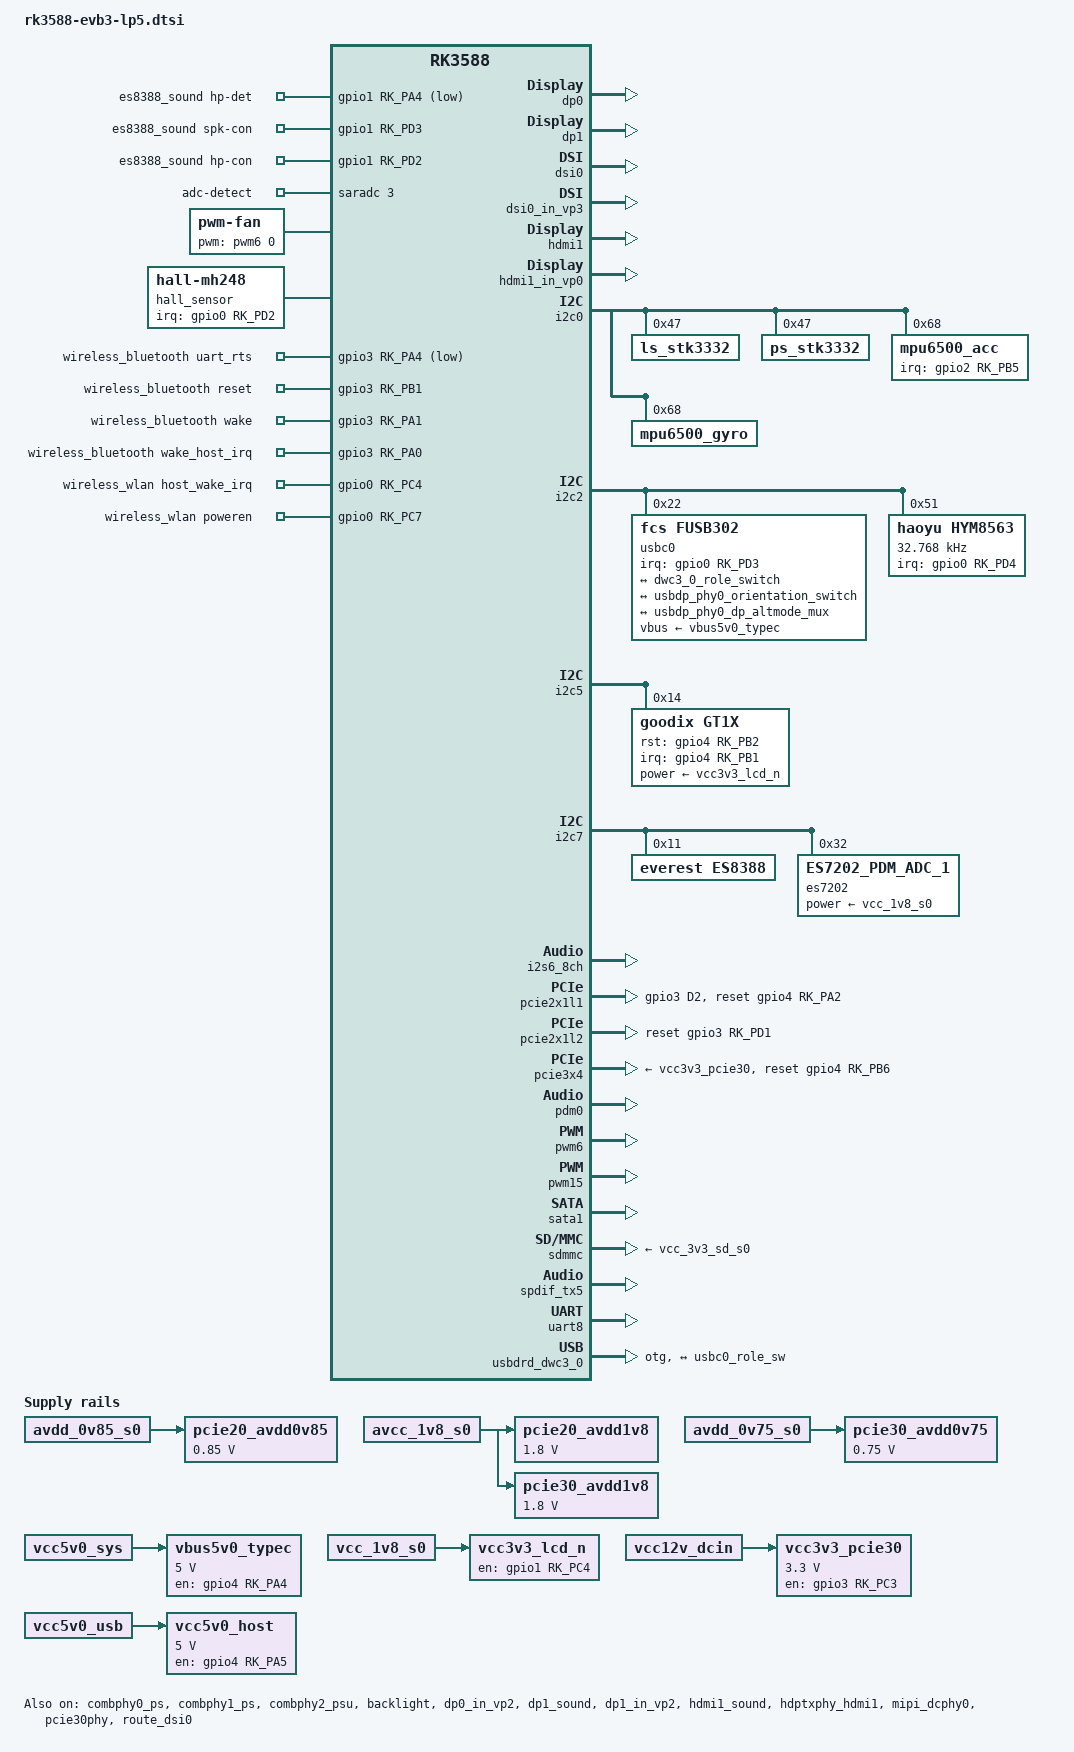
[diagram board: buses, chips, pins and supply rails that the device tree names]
// SPDX-License-Identifier: (GPL-2.0+ OR MIT)
/*
 * Copyright (c) 2021 Rockchip Electronics Co., Ltd.
 *
 */

#include "dt-bindings/usb/pd.h"
#include "rk3588.dtsi"
#include "rk3588-evb.dtsi"
#include "rk3588-rk806-dual.dtsi"

/ {
	es7202_sound_micarray: es7202-sound-micarray {
		status = "okay";
		compatible = "simple-audio-card";
		simple-audio-card,format = "i2s";
		simple-audio-card,name = "rockchip,sound-micarray";
		simple-audio-card,mclk-fs = <256>;
		simple-audio-card,dai-link@0 {
			format = "pdm";
			cpu {
				sound-dai = <&pdm0>;
			};
			codec {
				sound-dai = <&es7202>;
			};
		};
	};

	es8388_sound: es8388-sound {
		status = "okay";
		compatible = "rockchip,multicodecs-card";
		rockchip,card-name = "rockchip-es8388";
		hp-det-gpio = <&gpio1 RK_PA4 GPIO_ACTIVE_LOW>;
		io-channels = <&saradc 3>;
		io-channel-names = "adc-detect";
		keyup-threshold-microvolt = <1800000>;
		poll-interval = <100>;
		spk-con-gpio = <&gpio1 RK_PD3 GPIO_ACTIVE_HIGH>;
		hp-con-gpio = <&gpio1 RK_PD2 GPIO_ACTIVE_HIGH>;
		rockchip,format = "i2s";
		rockchip,mclk-fs = <256>;
		rockchip,cpu = <&i2s0_8ch>;
		rockchip,codec = <&es8388>;
		rockchip,audio-routing =
			"Headphone", "LOUT1",
			"Headphone", "ROUT1",
			"Speaker", "LOUT2",
			"Speaker", "ROUT2",
			"Headphone", "Headphone Power",
			"Headphone", "Headphone Power",
			"Speaker", "Speaker Power",
			"Speaker", "Speaker Power",
			"LINPUT1", "Main Mic",
			"LINPUT2", "Main Mic",
			"RINPUT1", "Headset Mic",
			"RINPUT2", "Headset Mic";
		pinctrl-names = "default";
		pinctrl-0 = <&hp_det>;
		play-pause-key {
			label = "playpause";
			linux,code = <KEY_PLAYPAUSE>;
			press-threshold-microvolt = <2000>;
		};
	};

	fan: pwm-fan {
		compatible = "pwm-fan";
		#cooling-cells = <2>;
		pwms = <&pwm6 0 50000 0>;
		cooling-levels = <0 50 100 150 200 255>;
		rockchip,temp-trips = <
			50000	1
			55000	2
			60000	3
			65000	4
			70000	5
		>;
	};

	hall_sensor: hall-mh248 {
		compatible = "hall-mh248";
		pinctrl-names = "default";
		pinctrl-0 = <&mh248_irq_gpio>;
		irq-gpio = <&gpio0 RK_PD2 IRQ_TYPE_EDGE_BOTH>;
		hall-active = <1>;
		status = "okay";
	};

	pcie20_avdd0v85: pcie20-avdd0v85 {
		compatible = "regulator-fixed";
		regulator-name = "pcie20_avdd0v85";
		regulator-boot-on;
		regulator-always-on;
		regulator-min-microvolt = <850000>;
		regulator-max-microvolt = <850000>;
		vin-supply = <&avdd_0v85_s0>;
	};

	pcie20_avdd1v8: pcie20-avdd1v8 {
		compatible = "regulator-fixed";
		regulator-name = "pcie20_avdd1v8";
		regulator-boot-on;
		regulator-always-on;
		regulator-min-microvolt = <1800000>;
		regulator-max-microvolt = <1800000>;
		vin-supply = <&avcc_1v8_s0>;
	};

	pcie30_avdd0v75: pcie30-avdd0v75 {
		compatible = "regulator-fixed";
		regulator-name = "pcie30_avdd0v75";
		regulator-boot-on;
		regulator-always-on;
		regulator-min-microvolt = <750000>;
		regulator-max-microvolt = <750000>;
		vin-supply = <&avdd_0v75_s0>;
	};

	pcie30_avdd1v8: pcie30-avdd1v8 {
		compatible = "regulator-fixed";
		regulator-name = "pcie30_avdd1v8";
		regulator-boot-on;
		regulator-always-on;
		regulator-min-microvolt = <1800000>;
		regulator-max-microvolt = <1800000>;
		vin-supply = <&avcc_1v8_s0>;
	};

	vbus5v0_typec: vbus5v0-typec {
		compatible = "regulator-fixed";
		regulator-name = "vbus5v0_typec";
		regulator-min-microvolt = <5000000>;
		regulator-max-microvolt = <5000000>;
		enable-active-high;
		gpio = <&gpio4 RK_PA4 GPIO_ACTIVE_HIGH>;
		vin-supply = <&vcc5v0_sys>;
		pinctrl-names = "default";
		pinctrl-0 = <&typec5v_pwren>;
	};

	vcc3v3_lcd_n: vcc3v3-lcd0-n {
		compatible = "regulator-fixed";
		regulator-name = "vcc3v3_lcd0_n";
		regulator-boot-on;
		enable-active-high;
		gpio = <&gpio1 RK_PC4 GPIO_ACTIVE_HIGH>;
		vin-supply = <&vcc_1v8_s0>;
	};

	vcc3v3_pcie30: vcc3v3-pcie30 {
		compatible = "regulator-fixed";
		regulator-name = "vcc3v3_pcie30";
		regulator-min-microvolt = <3300000>;
		regulator-max-microvolt = <3300000>;
		enable-active-high;
		gpios = <&gpio3 RK_PC3 GPIO_ACTIVE_HIGH>;
		startup-delay-us = <5000>;
		vin-supply = <&vcc12v_dcin>;
	};

	vcc5v0_host: vcc5v0-host {
		compatible = "regulator-fixed";
		regulator-name = "vcc5v0_host";
		regulator-boot-on;
		regulator-always-on;
		regulator-min-microvolt = <5000000>;
		regulator-max-microvolt = <5000000>;
		enable-active-high;
		gpio = <&gpio4 RK_PA5 GPIO_ACTIVE_HIGH>;
		vin-supply = <&vcc5v0_usb>;
		pinctrl-names = "default";
		pinctrl-0 = <&vcc5v0_host_en>;
	};

	wireless_bluetooth: wireless-bluetooth {
		compatible = "bluetooth-platdata";
		clocks = <&hym8563>;
		clock-names = "ext_clock";
		uart_rts_gpios = <&gpio3 RK_PA4 GPIO_ACTIVE_LOW>;
		pinctrl-names = "default", "rts_gpio";
		pinctrl-0 = <&uart8m1_rtsn>;
		pinctrl-1 = <&uart8_gpios>;
		BT,reset_gpio    = <&gpio3 RK_PB1 GPIO_ACTIVE_HIGH>;
		BT,wake_gpio     = <&gpio3 RK_PA1 GPIO_ACTIVE_HIGH>;
		BT,wake_host_irq = <&gpio3 RK_PA0 GPIO_ACTIVE_HIGH>;
		status = "okay";
	};

	wireless_wlan: wireless-wlan {
		compatible = "wlan-platdata";
		wifi_chip_type = "ap6275p";
		pinctrl-names = "default";
		pinctrl-0 = <&wifi_host_wake_irq>, <&wifi_poweren_gpio>;
		WIFI,host_wake_irq = <&gpio0 RK_PC4 GPIO_ACTIVE_HIGH>;
		WIFI,poweren_gpio = <&gpio0 RK_PC7 GPIO_ACTIVE_HIGH>;
		status = "okay";
	};
};

&combphy0_ps {
	status = "okay";
};

&combphy1_ps {
	status = "okay";
};

&combphy2_psu {
	status = "okay";
};

&backlight {
	pwms = <&pwm15 0 25000 0>;
	status = "okay";
};

&dp0 {
	status = "okay";
};

&dp0_in_vp2 {
	status = "okay";
};

&dp1_sound {
	status = "okay";
};

&dp1 {
	pinctrl-0 = <&dp1m2_pins>;
	pinctrl-names = "default";
	status = "okay";
};

&dp1_in_vp2 {
	status = "okay";
};

/*
 * mipi_dcphy0 needs to be enabled
 * when dsi0 is enabled
 */
&dsi0 {
	status = "okay";
};

&dsi0_in_vp2 {
	status = "disabled";
};

&dsi0_in_vp3 {
	status = "okay";
};

&dsi0_panel {
	power-supply = <&vcc3v3_lcd_n>;
	reset-gpios = <&gpio4 RK_PA3 GPIO_ACTIVE_LOW>;
	pinctrl-names = "default";
	pinctrl-0 = <&lcd_rst_gpio>;
};

/*
 * mipi_dcphy1 needs to be enabled
 * when dsi1 is enabled
 */
&dsi1 {
	status = "disabled";
};

&dsi1_in_vp2 {
	status = "disabled";
};

&dsi1_in_vp3 {
	status = "disabled";
};

&dsi1_panel {
	power-supply = <&vcc3v3_lcd_n>;

	/*
	 * because in hardware, the two screens share the reset pin,
	 * so reset-gpios need only in dsi1 enable and dsi0 disabled
	 * case.
	 */

	//reset-gpios = <&gpio4 RK_PA3 GPIO_ACTIVE_LOW>;
	//pinctrl-names = "default";
	//pinctrl-0 = <&lcd_rst_gpio>;
	phy-c-option;
	dsi,lanes  = <3>;

	panel-init-sequence = [
		23 00 02 FF 20
		23 00 02 FB 01
		23 00 02 05 D9
		/* VGH=17V */
		23 00 02 07 78
		/* VGL=-14V */
		23 00 02 08 5A
		/* EN_VMODGATE2=1 */
		23 00 02 0D 63
		/* VGH=16V */
		23 00 02 0E 91
		/* VGL=-13V */
		23 00 02 0F 73
		/* GVDD=5.2V */
		23 00 02 95 EB
		23 00 02 96 EB
		/* Disable VDDI LV */
		23 00 02 30 11
		/* ISOP */
		23 00 02 6D 66
		/* EN_GMACP */
		23 00 02 75 A2
		/* V128 */
		23 00 02 77 3B
		/* R(+) */
		29 00 11 B0  00  08  00  23  00  4D  00  6D  00  89  00  A1  00  B6  00  C9
		29 00 11 B1  00  DA  01  13  01  3C  01  7E  01  AB  01  F7  02  2F  02  31
		29 00 11 B2  02  67  02  A6  02  D1  03  08  03  2E  03  5B  03  6B  03  7B
		29 00 0D B3  03  8E  03  A2  03  B7  03  E7  03  FD  03  FF
		/* G(+) */
		29 00 11 B4  00  08  00  23  00  4D  00  6D  00  89  00  A1  00  B6  00  C9
		29 00 11 B5  00  DA  01  13  01  3C  01  7E  01  AB  01  F7  02  2F  02  31
		29 00 11 B6  02  67  02  A6  02  D1  03  08  03  2E  03  5B  03  6B  03  7B
		29 00 0D B7  03  8E  03  A2  03  B7  03  E7  03  FD  03  FF
		/* B(+) */
		29 00 11 B8  00  08  00  23  00  4D  00  6D  00  89  00  A1  00  B6  00  C9
		29 00 11 B9  00  DA  01  13  01  3C  01  7E  01  AB  01  F7  02  2F  02  31
		29 00 11 BA  02  67  02  A6  02  D1  03  08  03  2E  03  5B  03  6B  03  7B
		29 00 0D BB  03  8E  03  A2  03  B7  03  E7  03  FD  03  FF
		/* CMD2_Page1 */
		23 00 02 FF 21
		23 00 02 FB 01
		/* R(-) */
		29 00 11 B0  00  00  00  1B  00  45  00  65  00  81  00  99  00  AE  00  C1
		29 00 11 B1  00  D2  01  0B  01  34  01  76  01  A3  01  EF  02  27  02  29
		29 00 11 B2  02  5F  02  9E  02  C9  03  00  03  26  03  53  03  63  03  73
		29 00 0D B3  03  86  03  9A  03  AF  03  DF  03  F5  03  F7
		/* G(-) */
		29 00 11 B4  00  00  00  1B  00  45  00  65  00  81  00  99  00  AE  00  C1
		29 00 11 B5  00  D2  01  0B  01  34  01  76  01  A3  01  EF  02  27  02  29
		29 00 11 B6  02  5F  02  9E  02  C9  03  00  03  26  03  53  03  63  03  73
		29 00 0D B7  03  86  03  9A  03  AF  03  DF  03  F5  03  F7
		/* B(-) */
		29 00 11 B8  00  00  00  1B  00  45  00  65  00  81  00  99  00  AE  00  C1
		29 00 11 B9  00  D2  01  0B  01  34  01  76  01  A3  01  EF  02  27  02  29
		29 00 11 BA  02  5F  02  9E  02  C9  03  00  03  26  03  53  03  63  03  73
		29 00 0D BB  03  86  03  9A  03  AF  03  DF  03  F5  03  F7

		29 00 02  FF 24
		29 00 02  FB 01
		/* VGL */
		29 00 02 00 00
		29 00 02 01 00
		/* VDDO */
		29 00 02 02 1C
		29 00 02 03 1C
		/* VDDE */
		29 00 02 04 1D
		29 00 02 05 1D
		/* STV0 */
		29 00 02 06 04
		29 00 02 07 04
		/* CLK8 */
		29 00 02 08 0F
		29 00 02 09 0F
		/* CLK6 */
		29 00 02 0A 0E
		29 00 02 0B 0E
		/* CLK4 */
		29 00 02 0C 0D
		29 00 02 0D 0D
		/* CLK2 */
		29 00 02 0E 0C
		29 00 02 0F 0C
		/* STV2 */
		29 00 02 10 08
		29 00 02 11 08

		29 00 02 12 00
		29 00 02 13 00
		29 00 02 14 00
		29 00 02 15 00
		/* VGL */
		29 00 02 16 00
		29 00 02 17 00
		/* VDDO */
		29 00 02 18 1C
		29 00 02 19 1C
		/* VDDE */
		29 00 02 1A 1D
		29 00 02 1B 1D
		/* STV0 */
		29 00 02 1C 04
		29 00 02 1D 04
		/* CLK7 */
		29 00 02 1E 0F
		29 00 02 1F 0F
		/* CLK5 */
		29 00 02 20 0E
		29 00 02 21 0E
		/* CLK3 */
		29 00 02 22 0D
		29 00 02 23 0D
		/* CLK1 */
		29 00 02 24 0C
		29 00 02 25 0C
		/* STV1 */
		29 00 02 26 08
		29 00 02 27 08

		29 00 02 28 00
		29 00 02 29 00
		29 00 02 2A 00
		29 00 02 2B 00
		/* STV0 */
		29 00 02 2D 20
		29 00 02 2F 0A
		29 00 02 30 44
		29 00 02 33 0C
		29 00 02 34 32

		29 00 02 37 44
		29 00 02 38 40
		29 00 02 39 00
		29 00 02 3A 50
		29 00 02 3B 50
		29 00 02 3D 42
		/* STV */
		29 00 02 3F 06
		29 00 02 43 06

		29 00 02 47 66
		29 00 02 4A 50
		29 00 02 4B 50
		29 00 02 4C 91
		/* GCK */
		29 00 02 4D 21
		29 00 02 4E 43
		29 00 02 51 12
		29 00 02 52 34
		29 00 03 55 82 02
		29 00 02 56 04
		29 00 02 58 21
		29 00 02 59 30
		29 00 02 5A 50
		29 00 02 5B 50
		29 00 03 5E 00 06
		29 00 02 5F 00
		/* EN_LFD_SOURCE=0 */
		29 00 02 65 82
		/* VDDO, VDDE */
		29 00 02 7E 20
		29 00 02 7F 3C
		29 00 02 82 04
		29 00 02 97 C0

		29 00 0D B6 05 00 05 00 00 00 00 00 05 05 00 00
		/* qclk=96/5 Mhz */
		29 00 02 91 44
		29 00 02 92 55
		29 00 02 93 1A
		29 00 02 94 5F
		/* SOG_HBP */
		29 00 02 D7 55
		29 00 02 DA 0A
		29 00 02 DE 08
		/* Normal */
		29 00 02 DB 05
		29 00 02 DC 55
		29 00 02 DD 22
		/* Line N */
		29 00 02 DF 05
		29 00 02 E0 55
		/* Line N+1 */
		29 00 02 E1 05
		29 00 02 E2 55
		/* TP0 */
		29 00 02 E3 05
		29 00 02 E4 55
		/* TP3 */
		29 00 02 E5 05
		29 00 02 E6 55
		/* Gate EQ */
		29 00 02 5C 00
		29 00 02 5D 00
		/* TP3 */
		29 00 02 8D 00
		29 00 02 8E 00
		/* No Sync @ TP */
		29 00 02 B5 90

		29 00 02 FF 25
		29 00 02 FB 01
		/* disable auto_vbp_vfp */
		29 00 02 05 00
		/* ESD_DET_ERR_SEL */
		29 00 02 19 07
		/* DP_N_GCK */
		29 00 02 1F 50
		29 00 02 20 50
		/* DP_N_1_GCK */
		29 00 02 26 50
		29 00 02 27 50
		/* TP0_GCK */
		29 00 02 33 50
		29 00 02 34 50
		/* TP3 GCK/MUX=1 */
		29 00 02 3F E0
		/* TP3_GCK_START_LINE */
		29 00 02 40 00
		/* TP3_STV */
		29 00 02 44 00
		29 00 02 45 40
		/* TP3_GCK */
		29 00 02 48 50
		29 00 02 49 50
		/* LSTP0 */
		29 00 02 5B 00
		29 00 02 5C 00
		29 00 02 5D 00
		29 00 02 5E D0

		29 00 02 61 50
		29 00 02 62 50
		/* en_vfp_addvsync */
		29 00 02 F1 10
		/* CMD2,Page10 */
		29 00 02 FF 2A
		29 00 02 FB 01
		/* PWRONOFF */
		/* STV */
		29 00 02 64 16
		/* CLR */
		29 00 02 67 16
		/* GCK */
		29 00 02 6A 16
		/* POL */
		29 00 02 70 30
		/* ABOFF */
		29 00 02 A2 F3
		29 00 02 A3 FF
		29 00 02 A4 FF
		29 00 02 A5 FF
		/* Long_V_TIMING disable */
		29 00 02 D6 08
		/* CMD2,Page6 */
		29 00 02 FF 26
		29 00 02 FB 01
		/* TPEN */
		29 00 02 00 81
		/* 90Hz */
		29 00 02 01 30

		29 00 02 02 31
		29 00 02 0A F2
		//Table A (90Hz)
		29 00 02 04 28
		29 00 02 06 3C
		29 00 02 0C 0B
		29 00 02 0D 0C
		29 00 02 0F 00
		29 00 02 11 00
		29 00 02 12 50
		29 00 02 13 AE
		29 00 02 14 A6
		29 00 02 16 10
		29 00 02 19 08
		29 00 02 1A FF
		29 00 02 1B 08
		29 00 02 1C 80
		29 00 02 22 00
		29 00 02 23 00
		29 00 02 2A 08
		29 00 02 2B FF

		29 00 02 1D 00
		29 00 02 1E 55
		29 00 02 1F 55
		29 00 02 24 00
		29 00 02 25 55
		29 00 02 2F 05
		29 00 02 30 55
		29 00 02 31 05
		29 00 02 32 6D
		29 00 02 39 00
		29 00 02 3A 55
		/* Table B (60Hz,81*1+101*19=2000, Extra=20) */
		29 00 02 8B 28
		29 00 02 8C 13
		29 00 02 8D 0A
		29 00 02 8F 0A
		29 00 02 91 00
		29 00 02 92 50
		29 00 02 93 51
		29 00 02 94 65
		29 00 02 96 10
		29 00 02 99 0A
		29 00 02 9A 7F
		29 00 02 9B 0A
		29 00 02 9C 0C
		29 00 02 9D 0A
		29 00 02 9E 7F

		29 00 02 3F 00
		29 00 02 40 75
		29 00 02 41 75
		29 00 02 42 75
		29 00 02 43 00
		29 00 02 44 75
		29 00 02 45 05
		29 00 02 46 75
		29 00 02 47 05
		29 00 02 48 8D
		29 00 02 49 00
		29 00 02 4A 75
		/* STV0 */
		29 00 02 4D 5D
		29 00 02 4E 60
		/* STV */
		29 00 02 4F 5D
		29 00 02 50 60
		/* GCK */
		29 00 02 51 70
		29 00 02 52 60
		/* DP_N_GCK */
		29 00 02 56 70
		29 00 02 58 60
		/* DP_N_1_GCK */
		29 00 02 5B 70
		29 00 02 5C 60
		/* TP0_GCK */
		29 00 02 60 70
		29 00 02 61 60
		/* TP3_GCK */
		29 00 02 64 70
		29 00 02 65 60
		/* LSTP0 */
		29 00 02 72 70
		29 00 02 73 60
		/* PRZ1 */
		29 00 02 20 01
		/* PRZ3 */
		/* Rescan=3 */
		29 00 02 33 11
		29 00 02 34 78
		29 00 02 35 16
		/* DLH */
		29 00 02 C8 04
		29 00 02 C9 80
		29 00 02 CA 4E
		29 00 02 CB 00
		29 00 02 A9 4C
		29 00 02 AA 47
		/* CMD2,Page7 */
		29 00 02 FF 27
		29 00 02 FB 01
		/* VPOR_DYNH_EN=1, VPOR_CNT_REV=1 */
		29 00 02 56 06
		/* FR0(60Hz) */
		29 00 02 58 80
		29 00 02 59 53
		29 00 02 5A 00
		29 00 02 5B 14
		29 00 02 5C 00
		29 00 02 5D 01
		29 00 02 5E 20
		29 00 02 5F 10
		29 00 02 60 00
		29 00 02 61 1D
		29 00 02 62 00
		29 00 02 63 01
		29 00 02 64 24
		29 00 02 65 1C
		29 00 02 66 00
		29 00 02 67 01
		29 00 02 68 25
		/* FR1(90Hz) */
		29 00 02 78 80
		29 00 02 79 73
		29 00 02 7A 00
		29 00 02 7B 14
		29 00 02 7C 00
		29 00 02 7D 02
		29 00 02 7E 20
		29 00 02 7F 21
		29 00 02 80 00
		29 00 02 81 2A
		29 00 02 82 00
		29 00 02 83 01
		29 00 02 84 1C
		29 00 02 85 28
		29 00 02 86 00
		29 00 02 87 01
		29 00 02 88 1D

		29 00 02 00 00
		29 00 02 C3 00
		/* FTE output TE, FTE1 output TSVD, LEDPWM output TSHD */
		29 00 02 D1 24
		29 00 02 D2 53
		/* CMD2,Page10 */
		29 00 02 FF 2A
		29 00 02 FB 01
		29 00 02 01 05
		29 00 02 02 55
		/* TP0 */
		29 00 02 03 05
		29 00 02 04 75
		/* TP3 */
		29 00 02 05 05
		29 00 02 06 75
		/* PEN_EN=1, UL_FREQ=0 */
		29 00 02 22 2F
		/* 90Hz */
		29 00 02 23 11
		/* FR0 (60Hz) */
		29 00 02 24 00
		29 00 02 25 75
		29 00 02 27 00
		29 00 02 28 1A
		29 00 02 29 00
		29 00 02 2A 1A
		29 00 02 2B 00
		29 00 02 2D 1A
		/* FR1 (90Hz) */
		29 00 02 2F 00
		29 00 02 30 55
		29 00 02 32 00
		29 00 02 33 1A
		29 00 02 34 00
		29 00 02 35 1A
		29 00 02 36 00
		29 00 02 37 1A
		/* CMD2,Page3 */
		29 00 02 FF 23
		29 00 02 FB 01
		/* DBV=12 bit */
		29 00 02 00 80
		/* PWM frequency */
		29 00 02 07 00
		/* CMD3,PageA */
		29 00 02 FF E0
		29 00 02 FB 01
		/* VCOM Driving Ability */
		29 00 02 14 60
		29 00 02 16 C0
		/* CMD3,PageB */
		29 00 02 FF F0
		29 00 02 FB 01
		/* slave osc workaround */
		29 00 02 3A 08
		/* CMD3,PageC */
		29 00 02 FF D0
		29 00 02 FB 01
		29 00 02 1C 88
		29 00 02 1D 08
		/* CMD1 */
		29 00 02 FF 10
		29 00 02 FB 01
		/* Only Write Slave */
		29 00 02 B9 01
		/* CMD2,Page0 */
		29 00 02 FF 20
		29 00 02 FB 01
		29 00 02 18 40
		/* CMD1 */
		29 00 02 FF 10
		29 00 02 FB 01
		/* Write Master & Slave */
		29 00 02 B9 02
		29 00 02 35 00
		29 00 03 51 00 FF
		29 00 02 53 24
		29 00 02 55 00
		29 00 02 BB 13
		/* VBP+VFP=121 */
		29 00 06 3B 03 5F 1A 04 04
		/* CMD2,Page5 */
		29 00 02 FF 25
		/* FRM */
		29 00 02 EC 00
		/* CMD1 */
		29 00 02 FF 10
		29 00 02 FB 01
		05 FF 01 11
		05 FF 01 29
	];

	panel-exit-sequence = [
		05 00 01 28
		05 00 01 10
	];

	disp_timings1: display-timings {
		native-mode = <&dsi1_timing0>;
		dsi1_timing0: timing0 {
			clock-frequency = <241300000>;
			hactive = <1200>;
			vactive = <2000>;
			hfront-porch = <31>;
			hsync-len = <4>;
			hback-porch = <32>;
			vfront-porch = <26>;
			vsync-len = <2>;
			vback-porch = <93>;
			hsync-active = <0>;
			vsync-active = <0>;
			de-active = <0>;
			pixelclk-active = <0>;
		};
	};
};

&hdmi1 {
	enable-gpios = <&gpio4 RK_PB0 GPIO_ACTIVE_HIGH>;
	status = "okay";
};

&hdmi1_in_vp0 {
	status = "okay";
};

&hdmi1_sound {
	status = "okay";
};

&hdptxphy_hdmi1 {
	status = "okay";
};

&i2c0 {
	status = "okay";
	pinctrl-0 = <&i2c0m1_xfer>;

	ls_stk3332: light@47 {
		compatible = "ls_stk3332";
		status = "okay";
		reg = <0x47>;
		type = <SENSOR_TYPE_LIGHT>;
		irq_enable = <0>;
		als_threshold_high = <100>;
		als_threshold_low = <10>;
		als_ctrl_gain = <2>; /* 0:x1 1:x4 2:x16 3:x64 */
		poll_delay_ms = <100>;
	};

	ps_stk3332: proximity@47 {
		compatible = "ps_stk3332";
		status = "okay";
		reg = <0x47>;
		type = <SENSOR_TYPE_PROXIMITY>;
		//pinctrl-names = "default";
		//pinctrl-0 = <&gpio2_b2>;
		//irq-gpio = <&gpio2 RK_PB2 IRQ_TYPE_LEVEL_LOW>;
		//irq_enable = <1>;
		ps_threshold_high = <0x200>;
		ps_threshold_low = <0x100>;
		ps_ctrl_gain = <3>; /* 0:x1 1:x2 2:x5 3:x8 */
		ps_led_current = <4>; /* 0:3.125mA 1:6.25mA 2:12.5mA 3:25mA 4:50mA 5:100mA*/
		poll_delay_ms = <100>;
	};

	mpu6500_acc: mpu_acc@68 {
		compatible = "mpu6500_acc";
		status = "okay";
		reg = <0x68>;
		irq-gpio = <&gpio2 RK_PB5 IRQ_TYPE_EDGE_RISING>;
		irq_enable = <0>;
		poll_delay_ms = <30>;
		type = <SENSOR_TYPE_ACCEL>;
		layout = <9>;
	};

	mpu6500_gyro: mpu_gyro@68 {
		compatible = "mpu6500_gyro";
		status = "okay";
		reg = <0x68>;
		irq_enable = <0>;
		poll_delay_ms = <30>;
		type = <SENSOR_TYPE_GYROSCOPE>;
		layout = <9>;
	};
};

&i2c2 {
	status = "okay";

	usbc0: fusb302@22 {
		compatible = "fcs,fusb302";
		reg = <0x22>;
		interrupt-parent = <&gpio0>;
		interrupts = <RK_PD3 IRQ_TYPE_LEVEL_LOW>;
		pinctrl-names = "default";
		pinctrl-0 = <&usbc0_int>;
		vbus-supply = <&vbus5v0_typec>;
		status = "okay";

		ports {
			#address-cells = <1>;
			#size-cells = <0>;

			port@0 {
				reg = <0>;
				usbc0_role_sw: endpoint@0 {
					remote-endpoint = <&dwc3_0_role_switch>;
				};
			};
		};

		usb_con: connector {
			compatible = "usb-c-connector";
			label = "USB-C";
			data-role = "dual";
			power-role = "dual";
			try-power-role = "sink";
			op-sink-microwatt = <1000000>;
			sink-pdos =
				<PDO_FIXED(5000, 1000, PDO_FIXED_USB_COMM)>;
			source-pdos =
				<PDO_FIXED(5000, 3000, PDO_FIXED_USB_COMM)>;

			altmodes {
				#address-cells = <1>;
				#size-cells = <0>;

				altmode@0 {
					reg = <0>;
					svid = <0xff01>;
					vdo = <0xffffffff>;
				};
			};

			ports {
				#address-cells = <1>;
				#size-cells = <0>;

				port@0 {
					reg = <0>;
					usbc0_orien_sw: endpoint {
						remote-endpoint = <&usbdp_phy0_orientation_switch>;
					};
				};

				port@1 {
					reg = <1>;
					dp_altmode_mux: endpoint {
						remote-endpoint = <&usbdp_phy0_dp_altmode_mux>;
					};
				};

			};
		};
	};

	hym8563: hym8563@51 {
		compatible = "haoyu,hym8563";
		reg = <0x51>;
		#clock-cells = <0>;
		clock-frequency = <32768>;
		clock-output-names = "hym8563";
		pinctrl-names = "default";
		pinctrl-0 = <&hym8563_int>;
		interrupt-parent = <&gpio0>;
		interrupts = <RK_PD4 IRQ_TYPE_LEVEL_LOW>;
		wakeup-source;
	};
};

&i2c5 {
	status = "okay";
	pinctrl-names = "default";
	pinctrl-0 = <&i2c5m4_xfer>;

	gt1x: gt1x@14 {
		compatible = "goodix,gt1x";
		reg = <0x14>;
		pinctrl-names = "default";
		pinctrl-0 = <&touch_gpio>;
		goodix,rst-gpio = <&gpio4 RK_PB2 GPIO_ACTIVE_HIGH>;
		goodix,irq-gpio = <&gpio4 RK_PB1 IRQ_TYPE_LEVEL_LOW>;
		power-supply = <&vcc3v3_lcd_n>;
	};
};

&i2c7 {
	status = "okay";

	es8388: es8388@11 {
		status = "okay";
		#sound-dai-cells = <0>;
		compatible = "everest,es8388", "everest,es8323";
		reg = <0x11>;
		clocks = <&cru I2S0_8CH_MCLKOUT>;
		clock-names = "mclk";
		assigned-clocks = <&cru I2S0_8CH_MCLKOUT>;
		assigned-clock-rates = <12288000>;
		pinctrl-names = "default";
		pinctrl-0 = <&i2s0_mclk>;
	};

	es7202: es7202@32 {
		status = "okay";
		#sound-dai-cells = <0>;
		compatible = "ES7202_PDM_ADC_1";
		power-supply = <&vcc_1v8_s0>;	/* only 1v8 or 3v3, default is 3v3 */
		reg = <0x32>;
	};
};

&i2s6_8ch {
	status = "okay";
};

&mipi_dcphy0 {
	status = "okay";
};


&mipi_dcphy1 {
	status = "disabled";
};

&pcie2x1l1 {
	reset-gpios = <&gpio4 RK_PA2 GPIO_ACTIVE_HIGH>;
	pinctrl-names = "default";
	pinctrl-0 = <&rtl8111_isolate>;
	status = "okay";
};

&pcie2x1l2 {
	reset-gpios = <&gpio3 RK_PD1 GPIO_ACTIVE_HIGH>;
	rockchip,skip-scan-in-resume;
	status = "okay";
};

&pcie30phy {
	status = "okay";
};

&pcie3x4 {
	reset-gpios = <&gpio4 RK_PB6 GPIO_ACTIVE_HIGH>;
	vpcie3v3-supply = <&vcc3v3_pcie30>;
	status = "okay";
};

&pdm0 {
	status = "okay";
	pinctrl-names = "default";
	pinctrl-0 = <&pdm0m0_clk
		     &pdm0m0_sdi0>;
};

&pinctrl {
	headphone {
		hp_det: hp-det {
			rockchip,pins = <1 RK_PA4 RK_FUNC_GPIO &pcfg_pull_none>;
		};
	};

	hym8563 {
		hym8563_int: hym8563-int {
			rockchip,pins = <0 RK_PD4 RK_FUNC_GPIO &pcfg_pull_up>;
		};
	};

	lcd {
		lcd_rst_gpio: lcd-rst-gpio {
			rockchip,pins = <4 RK_PA3 RK_FUNC_GPIO &pcfg_pull_none>;
		};
	};

	rtl8111 {
		rtl8111_isolate: rtl8111-isolate {
			rockchip,pins = <3 RK_PD2 RK_FUNC_GPIO &pcfg_pull_up>;
		};
	};

	sensor {
		mh248_irq_gpio: mh248-irq-gpio {
			rockchip,pins = <0 RK_PD2 RK_FUNC_GPIO &pcfg_pull_up>;
		};

		mpu6500_irq_gpio: mpu6500_irq_gpio {
			rockchip,pins = <2 RK_PB5 RK_FUNC_GPIO &pcfg_pull_up>;
		};
	};

	touch {
		touch_gpio: touch-gpio {
			rockchip,pins =
				<4 RK_PB2 RK_FUNC_GPIO &pcfg_pull_up>,
				<4 RK_PB1 RK_FUNC_GPIO &pcfg_pull_none>;
		};
	};

	usb {
		vcc5v0_host_en: vcc5v0-host-en {
			rockchip,pins = <4 RK_PA5 RK_FUNC_GPIO &pcfg_pull_none>;
		};
	};

	usb-typec {
		usbc0_int: usbc0-int {
			rockchip,pins = <0 RK_PD3 RK_FUNC_GPIO &pcfg_pull_up>;
		};

		typec5v_pwren: typec5v-pwren {
			rockchip,pins = <4 RK_PA4 RK_FUNC_GPIO &pcfg_pull_none>;
		};
	};

	wireless-bluetooth {
		uart8_gpios: uart8-gpios {
			rockchip,pins = <3 RK_PA4 RK_FUNC_GPIO &pcfg_pull_none>;
		};
	};

	wireless-wlan {
		wifi_host_wake_irq: wifi-host-wake-irq {
			rockchip,pins = <0 RK_PC4 RK_FUNC_GPIO &pcfg_pull_down>;
		};

		wifi_poweren_gpio: wifi-poweren-gpio {
			rockchip,pins = <0 RK_PC7 RK_FUNC_GPIO &pcfg_pull_up>;
		};
	};
};

&pwm6 {
	pinctrl-0 = <&pwm6m1_pins>;
	status = "okay";
};

&pwm15 {
	pinctrl-0 = <&pwm15m1_pins>;
	status = "okay";
};

&route_dsi0 {
	status = "okay";
	connect = <&vp3_out_dsi0>;
};

&route_dsi1 {
	status = "disabled";
	connect = <&vp3_out_dsi1>;
};

&sata1 {
	status = "okay";
};

&sdmmc {
	status = "okay";
	vmmc-supply = <&vcc_3v3_sd_s0>;
};

&spdif_tx5 {
	status = "okay";
};

&u2phy0_otg {
	rockchip,typec-vbus-det;
};

&u2phy1_otg {
	phy-supply = <&vcc5v0_host>;
};

&u2phy2_host {
	phy-supply = <&vcc5v0_host>;
};

&u2phy3_host {
	phy-supply = <&vcc5v0_host>;
};

&uart8 {
	status = "okay";
	pinctrl-names = "default";
	pinctrl-0 = <&uart8m1_xfer &uart8m1_ctsn>;
};

&usbdp_phy0 {
	orientation-switch;
	svid = <0xff01>;
	sbu1-dc-gpios = <&gpio4 RK_PA6 GPIO_ACTIVE_HIGH>;
	sbu2-dc-gpios = <&gpio4 RK_PA7 GPIO_ACTIVE_HIGH>;

	port {
		#address-cells = <1>;
		#size-cells = <0>;
		usbdp_phy0_orientation_switch: endpoint@0 {
			reg = <0>;
			remote-endpoint = <&usbc0_orien_sw>;
		};

		usbdp_phy0_dp_altmode_mux: endpoint@1 {
			reg = <1>;
			remote-endpoint = <&dp_altmode_mux>;
		};
	};
};

&usbdp_phy1 {
	rockchip,dp-lane-mux = <2 3>;
};

&usbdrd_dwc3_0 {
	dr_mode = "otg";
	usb-role-switch;
	port {
		#address-cells = <1>;
		#size-cells = <0>;
		dwc3_0_role_switch: endpoint@0 {
			reg = <0>;
			remote-endpoint = <&usbc0_role_sw>;
		};
	};
};

&usbhost3_0 {
	status = "disabled";
};

&usbhost_dwc3_0 {
	status = "disabled";
};
